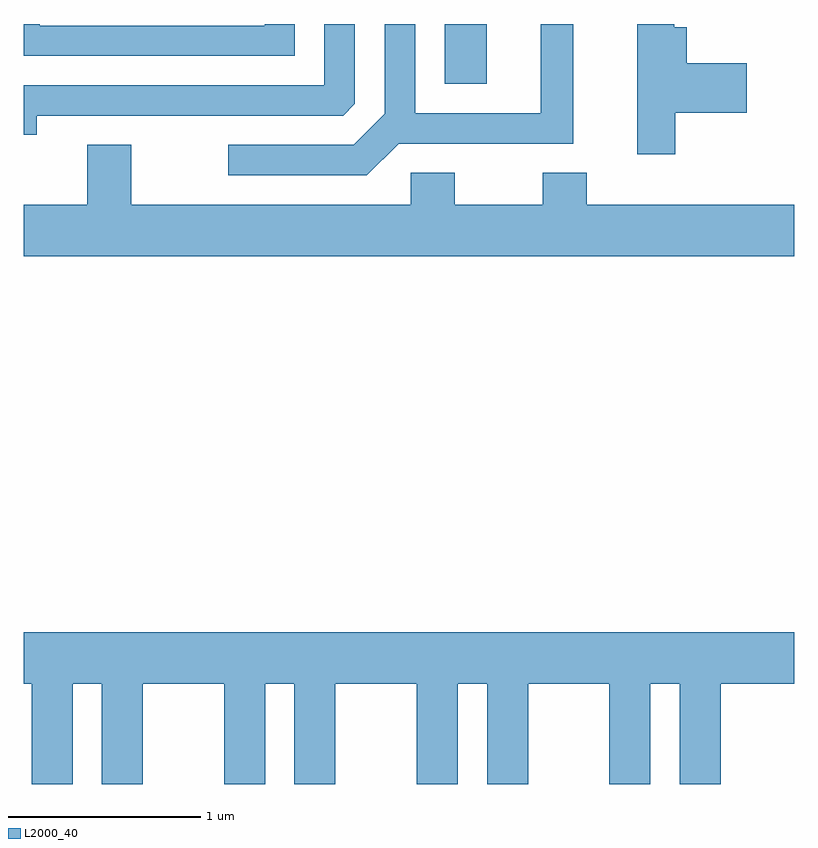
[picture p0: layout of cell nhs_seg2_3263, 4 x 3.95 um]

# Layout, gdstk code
import gdstk
lib = gdstk.Library(unit=1e-6, precision=1e-09)
def R(c, l, rs):  # rectangles x0, y0, x1, y1
    for r in rs: c.add(gdstk.rectangle(r[:2], r[2:], *l))
def P(c, l, *ps):  # polygons
    for p in ps: c.add(gdstk.Polygon(p, *l))
L2000_40 = (2000, 40)

nhs_seg2_3263 = lib.new_cell('nhs_seg2_3263')
R(nhs_seg2_3263, L2000_40, [(283.796,991.491,284.014,991.802)])
P(nhs_seg2_3263, L2000_40, [(284.994,991.341),(285.364,991.341),(285.364,991.599),(285.054,991.599),(285.054,991.784),(284.989,991.784),(284.989,991.802),(284.796,991.802),(284.796,991.126),(284.994,991.126)],
  [(283.557,991.181),(284.464,991.181),(284.464,991.802),(284.296,991.802),(284.296,991.339),(283.644,991.339),(283.644,991.802),(283.486,991.802),(283.486,991.337),(283.324,991.174),(282.673,991.174),(282.673,991.016),(283.392,991.016)],
  [(283.019,991.802),(282.861,991.802),(282.861,991.794),(281.695,991.794),(281.695,991.802),(281.611,991.802),(281.611,991.636),(283.019,991.636)],
  [(281.679,991.326),(283.269,991.326),(283.329,991.387),(283.329,991.802),(283.171,991.802),(283.171,991.484),(281.611,991.484),(281.611,991.228),(281.679,991.228)],
  [(285.611,990.864),(284.534,990.864),(284.534,991.029),(284.306,991.029),(284.306,990.864),(283.849,990.864),(283.849,991.029),(283.621,991.029),(283.621,990.864),(282.169,990.864),(282.169,991.174),(281.941,991.174),(281.941,990.864),(281.611,990.864),(281.611,990.596),(285.611,990.596)],
  [(281.611,988.376),(281.651,988.376),(281.651,987.856),(281.864,987.856),(281.864,988.376),(282.016,988.376),(282.016,987.856),(282.229,987.856),(282.229,988.376),(282.651,988.376),(282.651,987.856),(282.864,987.856),(282.864,988.376),(283.016,988.376),(283.016,987.856),(283.229,987.856),(283.229,988.376),(283.651,988.376),(283.651,987.856),(283.864,987.856),(283.864,988.376),(284.016,988.376),(284.016,987.856),(284.229,987.856),(284.229,988.376),(284.651,988.376),(284.651,987.856),(284.864,987.856),(284.864,988.376),(285.016,988.376),(285.016,987.856),(285.229,987.856),(285.229,988.376),(285.611,988.376),(285.611,988.644),(281.611,988.644)])

lib.write_gds('nhs_seg2_3263.gds')
